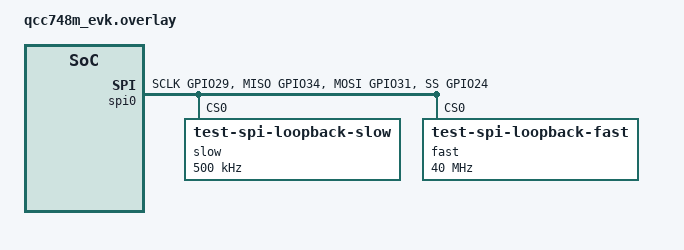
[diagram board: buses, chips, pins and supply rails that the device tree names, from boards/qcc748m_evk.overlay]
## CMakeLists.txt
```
# Copyright (c) Qualcomm Technologies, Inc. and/or its subsidiaries.
# SPDX-License-Identifier: BSD-3-Clause

cmake_minimum_required(VERSION 3.20)

find_package(Zephyr REQUIRED HINTS $ENV{ZEPHYR_BASE})
project(spi_stress)

target_sources(app PRIVATE src/main.c)
```

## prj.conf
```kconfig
# Copyright (c) Qualcomm Technologies, Inc. and/or its subsidiaries.
# SPDX-License-Identifier: BSD-3-Clause

CONFIG_ZTEST=y
CONFIG_ZTRESS=y
CONFIG_SPI=y
CONFIG_HEAP_MEM_POOL_SIZE=24576
CONFIG_ZTRESS_MAX_THREADS=2
# ztest thread needs extra stack for tests with large local buffers
# (test_spi_various_length_repeat: 2×512 B on stack)
CONFIG_ZTEST_STACK_SIZE=4096
```

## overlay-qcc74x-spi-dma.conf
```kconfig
# Copyright (c) Qualcomm Technologies, Inc. and/or its subsidiaries.
# SPDX-License-Identifier: BSD-3-Clause

# Force DMA mode for QCC74x SPI controller
CONFIG_SPI_QCC74X_DMA=y
CONFIG_DMA=y
CONFIG_SPI_ASYNC=n
CONFIG_SPI_LOG_LEVEL_WRN=y
CONFIG_DMA_CH_TRANSFER_BLOCK_MAX=10
CONFIG_DMA_CH_TRANSFER_LLI_MAX=32

# The DMA path allocates TX/RX bounce buffers from the system heap via
# k_aligned_alloc().  The stress test_spi_max_length_repeat mallocs
# 2×8192 B from the heap *and* the DMA driver then allocates TX+RX
# bounce buffers (~2×8192 B) with cache-line alignment overhead.
# Total peak usage ≈ 4×8192 + metadata ≈ 34 KB → size with margin.
CONFIG_HEAP_MEM_POOL_SIZE=49152
```

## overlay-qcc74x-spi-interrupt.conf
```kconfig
# Copyright (c) Qualcomm Technologies, Inc. and/or its subsidiaries.
# SPDX-License-Identifier: BSD-3-Clause

# Enable interrupt-driven SPI transfers for QCC74x SPI controller
CONFIG_SPI_QCC74X_INTERRUPT=y
CONFIG_SPI_ASYNC=y
```

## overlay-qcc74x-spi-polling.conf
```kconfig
# Copyright (c) Qualcomm Technologies, Inc. and/or its subsidiaries.
# SPDX-License-Identifier: BSD-3-Clause

# Force polling mode for QCC74x SPI controller
CONFIG_SPI_QCC74X_INTERRUPT=n
CONFIG_SPI_ASYNC=n
```

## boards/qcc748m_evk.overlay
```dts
/*
* Copyright (c) Qualcomm Technologies, Inc. and/or its subsidiaries.
 * SPDX-License-Identifier: BSD-3-Clause
 *
 * Single-board stress pinmux: SCLK=GPIO29, MOSI=GPIO31, MISO=GPIO34,
 * SS=GPIO24. Connect MOSI (GPIO31) to MISO (GPIO34) on the board.
 */

&pinctrl {
	status = "okay";
	spi0_default: spi0_default {
		group1 {
			pinmux = <SPI0_SCLK_GPIO29>,
				<SPI0_MISO_GPIO34>,
				<SPI0_MOSI_GPIO31>,
				<SPI0_SS_GPIO24>;
			bias-pull-up;
			drive-strength = <1>;
			input-schmitt-enable;
			input-enable;
		};
	};
};

&spi0 {
	status = "okay";
	pinctrl-0 = <&spi0_default>;
	pinctrl-names = "default";
	slow@0 {
		compatible = "test-spi-loopback-slow";
		reg = <0>;
		spi-max-frequency = <500000>;
	};
	fast@0 {
		compatible = "test-spi-loopback-fast";
		reg = <0>;
		spi-max-frequency = <40000000>;
	};
};

&dma {
	status = "okay";
};
```

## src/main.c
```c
/*
 * Copyright (c) Qualcomm Technologies, Inc. and/or its subsidiaries.
 * SPDX-License-Identifier: BSD-3-Clause
 */

#include <zephyr/kernel.h>
#include <zephyr/device.h>
#include <zephyr/drivers/spi.h>
#include <zephyr/sys/printk.h>
#include <zephyr/ztest.h>
#include <zephyr/ztress.h>
#include <string.h>
#include <stdlib.h>

#define SPI_DEVICE_NODE DT_NODELABEL(spi0)
#define SPI_STRESS_ITERATIONS 100
#define CONCURRENT_ITERATIONS 100

#if CONFIG_NOCACHE_MEMORY
#define __NOCACHE __attribute__((__section__(".nocache")))
#elif defined(CONFIG_DT_DEFINED_NOCACHE)
#define __NOCACHE __attribute__((__section__(CONFIG_DT_DEFINED_NOCACHE_NAME)))
#else
#define __NOCACHE
#endif

static const struct device *spi_dev = DEVICE_DT_GET(SPI_DEVICE_NODE);

static const struct spi_config spi_cfg = {
	.frequency = 1000000,
	.operation = SPI_OP_MODE_MASTER | SPI_WORD_SET(8) | SPI_TRANSFER_MSB,
	.slave = 0,
};

/* DMA buffers must start on a cache-line boundary and be in non-cache memory. */
static uint8_t fifo_boundary_tx[65] __aligned(32) __NOCACHE;
static uint8_t fifo_boundary_rx[65] __aligned(32) __NOCACHE;
static uint8_t lsb_tx[32] __aligned(32) __NOCACHE;
static uint8_t lsb_rx[32] __aligned(32) __NOCACHE;

/* These buffers are shared by their respective ztest cases, not by workers. */
K_MUTEX_DEFINE(spi_test_buffer_lock);

/* One DMA-safe buffer pair per ztress worker. */
static uint8_t ztress_tx32[32] __aligned(32) __NOCACHE;
static uint8_t ztress_rx32[32] __aligned(32) __NOCACHE;
static uint8_t ztress_tx64[64] __aligned(32) __NOCACHE;
static uint8_t ztress_rx64[64] __aligned(32) __NOCACHE;
static uint8_t ztress_reconfig_tx[32] __aligned(32) __NOCACHE;
static uint8_t ztress_reconfig_rx[32] __aligned(32) __NOCACHE;

/* Helper to verify loopback data */
static int verify_loopback(const uint8_t *tx, const uint8_t *rx, size_t len)
{
	if (!rx || memcmp(tx, rx, len) != 0) {
		return -1;
	}
	return 0;
}

static void run_fifo_boundary_test(const struct spi_config *config)
{
	k_mutex_lock(&spi_test_buffer_lock, K_FOREVER);
	static const size_t lengths[] = { 7, 8, 9, 31, 32, 33, 63, 64, 65 };
	for (size_t i = 0; i < ARRAY_SIZE(lengths); i++) {
		size_t len = lengths[i];
		for (size_t j = 0; j < len; j++) {
			fifo_boundary_tx[j] = (uint8_t)(j ^ len);
		}
		struct spi_buf tx = { .buf = fifo_boundary_tx, .len = len };
		struct spi_buf rx = { .buf = fifo_boundary_rx, .len = len };
		struct spi_buf_set tx_set = { .buffers = &tx, .count = 1 };
		struct spi_buf_set rx_set = { .buffers = &rx, .count = 1 };
		int ret = spi_transceive(spi_dev, config, &tx_set, &rx_set);
		if (ret != 0) {
			k_mutex_unlock(&spi_test_buffer_lock);
			zassert_equal(ret, 0, "FIFO boundary %u failed", (unsigned int)len);
			return;
		}
		ret = verify_loopback(fifo_boundary_tx, fifo_boundary_rx, len);
		if (ret != 0) {
			k_mutex_unlock(&spi_test_buffer_lock);
			zassert_equal(ret, 0, "FIFO boundary %u data mismatch", (unsigned int)len);
			return;
		}
	}
	k_mutex_unlock(&spi_test_buffer_lock);
}

ZTEST(spi_stress_suite, test_spi_fifo_boundary_lengths)
{
	run_fifo_boundary_test(&spi_cfg);
}

ZTEST(spi_stress_suite, test_spi_lsb_first)
{
	k_mutex_lock(&spi_test_buffer_lock, K_FOREVER);
	for (size_t i = 0; i < sizeof(lsb_tx); i++) lsb_tx[i] = (uint8_t)(0xA5 ^ i);
	struct spi_config lsb_cfg = spi_cfg;
	/* spi_cfg is MSB-first; select LSB explicitly instead of setting both. */
	lsb_cfg.operation = (lsb_cfg.operation & ~SPI_TRANSFER_MSB) | SPI_TRANSFER_LSB;
	struct spi_buf tx = { .buf = lsb_tx, .len = sizeof(lsb_tx) };
	struct spi_buf rx = { .buf = lsb_rx, .len = sizeof(lsb_rx) };
	struct spi_buf_set tx_set = { .buffers = &tx, .count = 1 };
	struct spi_buf_set rx_set = { .buffers = &rx, .count = 1 };
	int ret = spi_transceive(spi_dev, &lsb_cfg, &tx_set, &rx_set);
	if (ret != 0) {
		k_mutex_unlock(&spi_test_buffer_lock);
		zassert_equal(ret, 0, "LSB-first transfer failed");
		return;
	}
	ret = verify_loopback(lsb_tx, lsb_rx, sizeof(lsb_tx));
	if (ret != 0) {
		k_mutex_unlock(&spi_test_buffer_lock);
		zassert_equal(ret, 0, "LSB-first data mismatch");
		return;
	}
	k_mutex_unlock(&spi_test_buffer_lock);
}

/* --- Scenario A: Single API Repeat --- */

static void *spi_stress_setup(void)
{
	zassert_true(device_is_ready(spi_dev), "SPI device is not ready");
	return NULL;
}

ZTEST_SUITE(spi_stress_suite, NULL, spi_stress_setup, NULL, NULL, NULL);

ZTEST(spi_stress_suite, test_spi_transceive_repeat)
{
	uint8_t tx_buf[32];
	uint8_t rx_buf[32];
	for (int i = 0; i < 32; i++) tx_buf[i] = i;

	struct spi_buf tx = { .buf = tx_buf, .len = sizeof(tx_buf) };
	struct spi_buf_set tx_set = { .buffers = &tx, .count = 1 };
	struct spi_buf rx_b = { .buf = rx_buf, .len = sizeof(rx_buf) };
	struct spi_buf_set rx_set = { .buffers = &rx_b, .count = 1 };

	for (int i = 0; i < SPI_STRESS_ITERATIONS; i++) {
		int ret = spi_transceive(spi_dev, &spi_cfg, &tx_set, &rx_set);
		zassert_equal(ret, 0, "spi_transceive failed at iteration %d", i);
		zassert_equal(verify_loopback(tx_buf, rx_buf, sizeof(tx_buf)), 0, "Data mismatch at iteration %d", i);
	}
}

ZTEST(spi_stress_suite, test_spi_write_only_repeat)
{
	uint8_t tx_buf[32] = {0};
	struct spi_buf tx = { .buf = tx_buf, .len = sizeof(tx_buf) };
	struct spi_buf_set tx_set = { .buffers = &tx, .count = 1 };

	for (int i = 0; i < SPI_STRESS_ITERATIONS; i++) {
		int ret = spi_transceive(spi_dev, &spi_cfg, &tx_set, NULL);
		zassert_equal(ret, 0, "spi_transceive write-only failed at iteration %d", i);
	}
}

ZTEST(spi_stress_suite, test_spi_read_only_repeat)
{
	uint8_t rx_buf[32];
	struct spi_buf rx = { .buf = rx_buf, .len = sizeof(rx_buf) };
	struct spi_buf_set rx_set = { .buffers = &rx, .count = 1 };

	for (int i = 0; i < SPI_STRESS_ITERATIONS; i++) {
		int ret = spi_transceive(spi_dev, &spi_cfg, NULL, &rx_set);
		zassert_equal(ret, 0, "spi_transceive read-only failed at iteration %d", i);
	}
}

/* --- Scenario B: Config/Release Cycle --- */

ZTEST(spi_stress_suite, test_spi_config_release_cycle)
{
	uint8_t tx_buf[16] = {0xAA};
	uint8_t rx_buf[16];
	struct spi_buf tx = { .buf = tx_buf, .len = sizeof(tx_buf) };
	struct spi_buf_set tx_set = { .buffers = &tx, .count = 1 };
	struct spi_buf rx = { .buf = rx_buf, .len = sizeof(rx_buf) };
	struct spi_buf_set rx_set = { .buffers = &rx, .count = 1 };
	struct spi_config configs[2] = {
		spi_cfg,
		spi_cfg,
	};
	configs[0].frequency = 2000000;
	configs[1].frequency = 1000000;

	for (int i = 0; i < SPI_STRESS_ITERATIONS; i++) {
		const struct spi_config *config = &configs[i % 2];
		int ret = spi_transceive(spi_dev, config, &tx_set, &rx_set);
		zassert_equal(ret, 0, "Cycle failed at iteration %d", i);
	}
}

static const uint32_t freq_list[] = { 500000, 1000000, 2000000, 4000000, 8000000, 10000000, 12000000, 14000000, 20000000 };
ZTEST(spi_stress_suite, test_spi_reconfig_freq_cycle)
{
	uint8_t tx_buf[16] = {0xBB};
	uint8_t rx_buf[16];
	struct spi_buf tx = { .buf = tx_buf, .len = sizeof(tx_buf) };
	struct spi_buf_set tx_set = { .buffers = &tx, .count = 1 };
	struct spi_buf rx = { .buf = rx_buf, .len = sizeof(rx_buf) };
	struct spi_buf_set rx_set = { .buffers = &rx, .count = 1 };
	struct spi_config configs[ARRAY_SIZE(freq_list)];

	for (size_t f = 0; f < ARRAY_SIZE(freq_list); f++) {
		configs[f] = spi_cfg;
		configs[f].frequency = freq_list[f];
	}

	for (size_t f = 0; f < ARRAY_SIZE(freq_list); f++) {
		for (int i = 0; i < SPI_STRESS_ITERATIONS; i++) {
			int ret = spi_transceive(spi_dev, &configs[f], &tx_set, &rx_set);
			zassert_equal(ret, 0, "Freq %d failed at iteration %d", freq_list[f], i);
		}
	}
}

ZTEST(spi_stress_suite, test_spi_reconfig_mode_cycle)
{
	uint8_t tx_buf[16] = {0xCC};
	uint8_t rx_buf[16];
	struct spi_buf tx = { .buf = tx_buf, .len = sizeof(tx_buf) };
	struct spi_buf_set tx_set = { .buffers = &tx, .count = 1 };
	struct spi_buf rx = { .buf = rx_buf, .len = sizeof(rx_buf) };
	struct spi_buf_set rx_set = { .buffers = &rx, .count = 1 };

	uint32_t modes[] = { SPI_OP_MODE_MASTER, SPI_OP_MODE_MASTER | SPI_MODE_CPOL, 
						  SPI_OP_MODE_MASTER | SPI_MODE_CPHA, SPI_OP_MODE_MASTER | SPI_MODE_CPOL | SPI_MODE_CPHA };
	struct spi_config configs[ARRAY_SIZE(modes)];

	for (size_t m = 0; m < ARRAY_SIZE(modes); m++) {
		configs[m] = spi_cfg;
		configs[m].operation = modes[m] | SPI_WORD_SET(8) | SPI_TRANSFER_MSB;
	}

	for (size_t m = 0; m < ARRAY_SIZE(modes); m++) {
		for (int i = 0; i < SPI_STRESS_ITERATIONS; i++) {
			int ret = spi_transceive(spi_dev, &configs[m], &tx_set, &rx_set);
			zassert_equal(ret, 0, "Mode %d failed at iteration %d", m, i);
		}
	}
}

/* --- Scenario C: ztress Multi-threaded Concurrency --- */

/*
 * ztress owns the worker threads, their stacks, iteration counts and joins.
 * These workers intentionally share spi_dev. The QCC74x driver must hold its
 * spi_context lock from the start of each transfer through DMA/IRQ completion;
 * adding a test-side mutex would hide driver locking bugs.
 */
static bool ztress_transceive_32(void *user_data, uint32_t cnt,
					 bool last, int prio)
{
	ARG_UNUSED(user_data);
	ARG_UNUSED(cnt);
	ARG_UNUSED(last);
	ARG_UNUSED(prio);

	memset(ztress_tx32, 0x11, sizeof(ztress_tx32));
	struct spi_buf tx_buf = { .buf = ztress_tx32, .len = sizeof(ztress_tx32) };
	struct spi_buf rx_buf = { .buf = ztress_rx32, .len = sizeof(ztress_rx32) };
	struct spi_buf_set tx_set = { .buffers = &tx_buf, .count = 1 };
	struct spi_buf_set rx_set = { .buffers = &rx_buf, .count = 1 };

	zassert_equal(spi_transceive(spi_dev, &spi_cfg, &tx_set, &rx_set), 0,
		      "32-byte concurrent transfer failed");
	zassert_equal(verify_loopback(ztress_tx32, ztress_rx32, sizeof(ztress_tx32)), 0,
		      "32-byte concurrent data mismatch");

	return true;
}

static bool ztress_transceive_64(void *user_data, uint32_t cnt,
					 bool last, int prio)
{
	ARG_UNUSED(user_data);
	ARG_UNUSED(cnt);
	ARG_UNUSED(last);
	ARG_UNUSED(prio);

	memset(ztress_tx64, 0x22, sizeof(ztress_tx64));
	struct spi_buf tx_buf = { .buf = ztress_tx64, .len = sizeof(ztress_tx64) };
	struct spi_buf rx_buf = { .buf = ztress_rx64, .len = sizeof(ztress_rx64) };
	struct spi_buf_set tx_set = { .buffers = &tx_buf, .count = 1 };
	struct spi_buf_set rx_set = { .buffers = &rx_buf, .count = 1 };

	zassert_equal(spi_transceive(spi_dev, &spi_cfg, &tx_set, &rx_set), 0,
		      "64-byte concurrent transfer failed");
	zassert_equal(verify_loopback(ztress_tx64, ztress_rx64, sizeof(ztress_tx64)), 0,
		      "64-byte concurrent data mismatch");

	return true;
}

static bool ztress_reconfig_cycle(void *user_data, uint32_t cnt,
					 bool last, int prio)
{
	ARG_UNUSED(user_data);
	ARG_UNUSED(cnt);
	ARG_UNUSED(last);
	ARG_UNUSED(prio);

	/*
	 * Each call is synchronous and acquires/releases the driver's SPI context
	 * internally. No spi_release() is needed here because this test does not
	 * use spi_acquire(); it checks serialization across complete transfers
	 * while the configuration changes between transfers.
	 */
	struct spi_config config = spi_cfg;
	config.frequency = 500000;
	ztress_reconfig_tx[0] = 0x5A;
	struct spi_buf tx_buf = { .buf = ztress_reconfig_tx, .len = 1 };
	struct spi_buf rx_buf = { .buf = ztress_reconfig_rx, .len = 1 };
	struct spi_buf_set tx_set = { .buffers = &tx_buf, .count = 1 };
	struct spi_buf_set rx_set = { .buffers = &rx_buf, .count = 1 };

	zassert_equal(spi_transceive(spi_dev, &config, &tx_set, &rx_set), 0,
		      "reconfiguration transfer failed");

	return true;
}

ZTEST(spi_stress_suite, test_spi_concurrent_transceive)
{
	ztress_set_timeout(K_SECONDS(10));
	ZTRESS_EXECUTE(
		ZTRESS_THREAD(ztress_transceive_32, NULL,
				      CONCURRENT_ITERATIONS, 0, Z_TIMEOUT_TICKS(10)),
		ZTRESS_THREAD(ztress_transceive_64, NULL,
				      CONCURRENT_ITERATIONS, 0, Z_TIMEOUT_TICKS(10))
	);
}

ZTEST(spi_stress_suite, test_spi_transceive_vs_reconfig)
{
	ztress_set_timeout(K_SECONDS(10));
	ZTRESS_EXECUTE(
		ZTRESS_THREAD(ztress_transceive_32, NULL,
				      CONCURRENT_ITERATIONS, 0, Z_TIMEOUT_TICKS(10)),
		ZTRESS_THREAD(ztress_reconfig_cycle, NULL,
				      CONCURRENT_ITERATIONS, 0, Z_TIMEOUT_TICKS(10))
	);
}

/* --- Scenario D: Boundary Conditions --- */

ZTEST(spi_stress_suite, test_spi_zero_length_repeat)
{
	/* Use zero-length buf_sets instead of NULL pointers;
	 * many SPI drivers reject NULL tx_set *and* NULL rx_set. */
	uint8_t tx_dummy;
	uint8_t rx_dummy;
	struct spi_buf tx_buf = { .buf = &tx_dummy, .len = 0 };
	struct spi_buf rx_buf = { .buf = &rx_dummy, .len = 0 };
	struct spi_buf_set tx_set = { .buffers = &tx_buf, .count = 1 };
	struct spi_buf_set rx_set = { .buffers = &rx_buf, .count = 1 };

	for (int i = 0; i < SPI_STRESS_ITERATIONS; i++) {
		int ret = spi_transceive(spi_dev, &spi_cfg, &tx_set, &rx_set);
		zassert_equal(ret, 0, "Zero length failed at iteration %d", i);
	}
}

ZTEST(spi_stress_suite, test_spi_max_length_repeat)
{
	uint8_t *tx_buf = k_malloc(8192);
	uint8_t *rx_buf = k_malloc(8192);
	if (tx_buf == NULL) {
		zassert_not_null(tx_buf, "TX malloc failed");
		return;
	}
	if (rx_buf == NULL) {
		k_free(tx_buf);
		zassert_not_null(rx_buf, "RX malloc failed");
		return;
	}
	memset(tx_buf, 0x55, 8192);

	struct spi_buf tx = { .buf = tx_buf, .len = 8192 };
	struct spi_buf_set tx_set = { .buffers = &tx, .count = 1 };
	struct spi_buf rx = { .buf = rx_buf, .len = 8192 };
	struct spi_buf_set rx_set = { .buffers = &rx, .count = 1 };

	for (int i = 0; i < SPI_STRESS_ITERATIONS; i++) {
		int ret = spi_transceive(spi_dev, &spi_cfg, &tx_set, &rx_set);
		if (ret != 0) {
			k_free(tx_buf);
			k_free(rx_buf);
			zassert_equal(ret, 0, "Max length failed at iteration %d", i);
			return;
		}
		int verify_ret = verify_loopback(tx_buf, rx_buf, 8192);
		if (verify_ret != 0) {
			k_free(tx_buf);
			k_free(rx_buf);
			zassert_equal(verify_ret, 0, "Data mismatch at iteration %d", i);
			return;
		}
	}
	k_free(tx_buf);
	k_free(rx_buf);
}

ZTEST(spi_stress_suite, test_spi_various_length_repeat)
{
	/* Allocate from heap instead of stack to avoid stack overflow
	 * (2×512 = 1024 bytes would exceed ztest thread stack). */
	uint8_t *tx_buf = k_malloc(512);
	uint8_t *rx_buf = k_malloc(512);

	zassert_not_null(tx_buf, "TX malloc failed");
	zassert_not_null(rx_buf, "RX malloc failed");

	for (int i = 0; i < SPI_STRESS_ITERATIONS; i++) {
		size_t len = (rand() % 512) + 1;
		memset(tx_buf, (uint8_t)(i % 256), len);

		struct spi_buf tx = { .buf = tx_buf, .len = len };
		struct spi_buf_set tx_set = { .buffers = &tx, .count = 1 };
		struct spi_buf rx = { .buf = rx_buf, .len = len };
		struct spi_buf_set rx_set = { .buffers = &rx, .count = 1 };

		int ret = spi_transceive(spi_dev, &spi_cfg, &tx_set, &rx_set);
		zassert_equal(ret, 0, "Various length failed at iteration %d", i);
		zassert_equal(verify_loopback(tx_buf, rx_buf, len), 0, "Data mismatch at iteration %d", i);
	}
	k_free(tx_buf);
	k_free(rx_buf);
}
```
